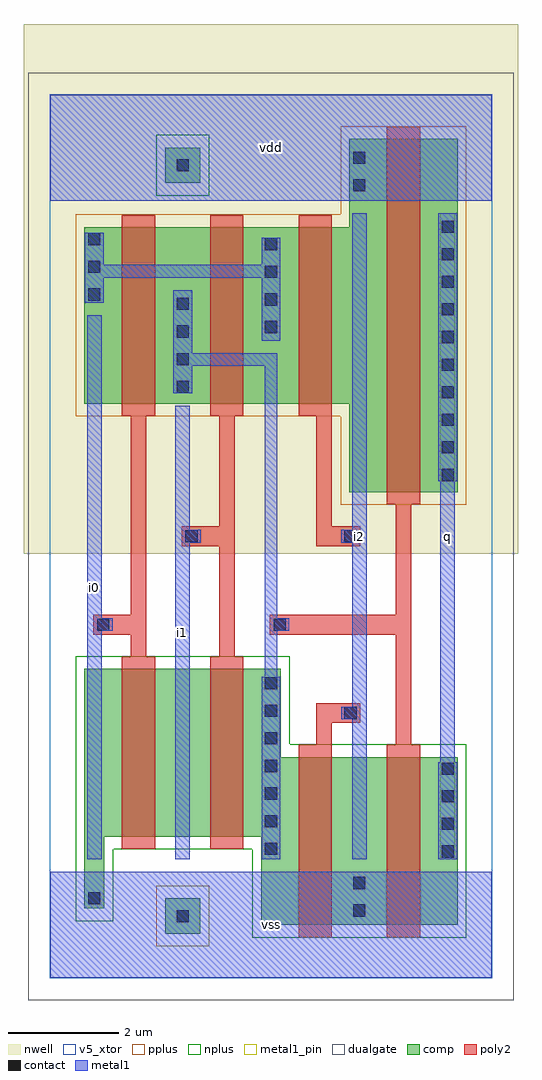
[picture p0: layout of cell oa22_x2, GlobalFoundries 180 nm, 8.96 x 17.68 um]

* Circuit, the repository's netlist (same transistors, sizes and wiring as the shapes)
* oa22_x2
.subckt oa22_x2 vdd q vss i0 i1 i2
Mp_net0_1 vdd _net0 q vdd pfet_06v0 l=0.6um w=6.4um
Mn_net0_1 vss _net0 q vss nfet_06v0 l=0.6um w=3.04um
Mn_i0_1 vss i0 _net2 vss nfet_06v0 l=0.6um w=3.04um
Mp_i0_1 _net1 i0 _net0 vdd pfet_06v0 l=0.6um w=3.2um
Mn_i1_1 _net2 i1 _net0 vss nfet_06v0 l=0.6um w=3.04um
Mp_i1_1 _net0 i1 _net1 vdd pfet_06v0 l=0.6um w=3.2um
Mp_i2_1 _net1 i2 vdd vdd pfet_06v0 l=0.6um w=3.2um
Mn_i2_1 _net0 i2 vss vss nfet_06v0 l=0.6um w=3.04um
.ends oa22_x2

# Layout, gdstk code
import gdstk
lib = gdstk.Library(unit=1e-6, precision=1e-09)
def R(c, l, rs):  # rectangles x0, y0, x1, y1
    for r in rs: c.add(gdstk.rectangle(r[:2], r[2:], *l))
def A(c, l, x, y, w, h, nx, ny, dx, dy):  # array of equal rectangles
    R(c, l, [(x+i*dx, y+j*dy, x+i*dx+w, y+j*dy+h) for i in range(nx) for j in range(ny)])
def P(c, l, *ps):  # polygons
    for p in ps: c.add(gdstk.Polygon(p, *l))
nwell = (21, 0)
comp = (22, 0)
poly2 = (30, 0)
pplus = (31, 0)
nplus = (32, 0)
contact = (33, 0)
metal1 = (34, 0)
metal1_pin = (34, 10)
dualgate = (55, 0)
v5_xtor = (112, 1)

oa22_x2 = lib.new_cell('oa22_x2')
R(oa22_x2, nwell, [(-0.48,7.68,8.48,17.28)])
R(oa22_x2, comp, [(2.08,0.8,2.72,1.44), (2.08,14.4,2.72,15.04)])
P(oa22_x2, comp, [(5.42,8.8),(5.42,10.4),(0.62,10.4),(0.62,13.6),(5.42,13.6),(5.42,15.2),(7.38,15.2),(7.38,8.8)],
  [(3.82,0.96),(3.82,2.56),(0.98,2.56),(0.98,1.26),(0.62,1.26),(0.62,5.6),(4.18,5.6),(4.18,4),(7.38,4),(7.38,0.96)])
P(oa22_x2, poly2, [(6.1,0.74),(6.1,4.22),(6.26,4.22),(6.26,6.22),(3.98,6.22),(3.98,6.58),(6.26,6.58),(6.26,8.58),(6.1,8.58),(6.1,15.42),(6.7,15.42),(6.7,8.58),(6.54,8.58),(6.54,4.22),(6.7,4.22),(6.7,0.74)],
  [(1.3,2.34),(1.3,5.82),(1.46,5.82),(1.46,6.22),(0.78,6.22),(0.78,6.58),(1.46,6.58),(1.46,10.18),(1.3,10.18),(1.3,13.82),(1.9,13.82),(1.9,10.18),(1.74,10.18),(1.74,5.82),(1.9,5.82),(1.9,2.34)],
  [(2.9,2.34),(2.9,5.82),(3.06,5.82),(3.06,7.82),(2.38,7.82),(2.38,8.18),(3.06,8.18),(3.06,10.18),(2.9,10.18),(2.9,13.82),(3.5,13.82),(3.5,10.18),(3.34,10.18),(3.34,5.82),(3.5,5.82),(3.5,2.34)],
  [(4.5,0.74),(4.5,4.22),(4.82,4.22),(4.82,4.98),(5.62,4.98),(5.62,4.62),(5.1,4.62),(5.1,0.74)],
  [(4.82,7.82),(4.82,10.18),(4.5,10.18),(4.5,13.82),(5.1,13.82),(5.1,8.18),(5.62,8.18),(5.62,7.82)])
R(oa22_x2, pplus, [(1.92,0.57,2.88,1.67)])
P(oa22_x2, pplus, [(5.26,8.57),(5.26,10.17),(0.46,10.17),(0.46,13.83),(5.26,13.83),(5.26,15.43),(7.54,15.43),(7.54,8.57)])
R(oa22_x2, nplus, [(1.92,14.17,2.88,15.27)])
P(oa22_x2, nplus, [(3.66,0.73),(3.66,2.33),(1.14,2.33),(1.14,1.03),(0.46,1.03),(0.46,5.83),(4.34,5.83),(4.34,4.23),(7.54,4.23),(7.54,0.73)])
A(oa22_x2, contact, 7.09, 2.18, 0.22, 0.22, 1, 4, 0, 0.5)
A(oa22_x2, contact, 3.89, 2.23, 0.22, 0.22, 1, 7, 0, 0.5)
A(oa22_x2, contact, 7.09, 9, 0.22, 0.22, 1, 10, 0, 0.5)
A(oa22_x2, contact, 2.29, 10.6, 0.22, 0.22, 1, 4, 0, 0.5)
A(oa22_x2, contact, 3.89, 11.68, 0.22, 0.22, 1, 4, 0, 0.5)
A(oa22_x2, contact, 0.69, 12.27, 0.22, 0.22, 1, 3, 0, 0.5)
R(oa22_x2, contact, [(2.29,1.01,2.51,1.23), (5.49,1.11,5.71,1.33), (0.69,1.33,0.91,1.55), (5.49,1.61,5.71,1.83), (5.33,4.69,5.55,4.91), (0.85,6.29,1.07,6.51), (4.05,6.29,4.27,6.51), (2.45,7.89,2.67,8.11), (5.33,7.89,5.55,8.11), (5.49,14.25,5.71,14.47), (2.29,14.61,2.51,14.83), (5.49,14.75,5.71,14.97)])
R(oa22_x2, metal1, [(0,0,8,1.92), (0,14.08,8,16)])
P(oa22_x2, metal1, [(7.03,2.15),(7.03,3.905),(7.07,3.905),(7.07,8.995),(7.03,8.995),(7.03,13.85),(7.37,13.85),(7.37,8.995),(7.33,8.995),(7.33,3.905),(7.37,3.905),(7.37,2.15)],
  [(3.83,2.15),(3.83,5.455),(3.885,5.455),(3.885,11.085),(2.57,11.085),(2.57,10.595),(2.23,10.595),(2.23,12.455),(2.57,12.455),(2.57,11.315),(4.115,11.315),(4.115,6.515),(4.33,6.515),(4.33,6.285),(4.115,6.285),(4.115,5.455),(4.17,5.455),(4.17,2.15)],
  [(0.67,2.15),(0.67,12),(0.93,12),(0.93,6.515),(1.13,6.515),(1.13,6.285),(0.93,6.285),(0.93,2.15)],
  [(3.83,11.545),(3.83,12.685),(0.97,12.685),(0.97,12.23),(0.63,12.23),(0.63,13.495),(0.97,13.495),(0.97,12.915),(3.83,12.915),(3.83,13.405),(4.17,13.405),(4.17,11.545)],
  [(2.27,2.15),(2.27,10.365),(2.53,10.365),(2.53,8.115),(2.73,8.115),(2.73,7.885),(2.53,7.885),(2.53,2.15)],
  [(5.47,2.15),(5.47,4.685),(5.27,4.685),(5.27,4.915),(5.47,4.915),(5.47,7.885),(5.27,7.885),(5.27,8.115),(5.47,8.115),(5.47,13.85),(5.73,13.85),(5.73,2.15)])
R(oa22_x2, metal1_pin, [(0,0,8,1.92), (0.67,2.15,0.93,12), (2.27,2.15,2.53,10.365), (5.47,2.15,5.73,13.85), (7.07,2.15,7.33,13.85), (0,14.08,8,16)])
R(oa22_x2, dualgate, [(-0.4,-0.4,8.4,16.4)])
R(oa22_x2, v5_xtor, [(-0.005,-0.005,8.005,16.005)])
oa22_x2.add(gdstk.Label('vdd', (4,15.04), layer=34, texttype=10))
oa22_x2.add(gdstk.Label('q', (7.2,8), layer=34, texttype=10))
oa22_x2.add(gdstk.Label('vss', (4,0.96), layer=34, texttype=10))
oa22_x2.add(gdstk.Label('i0', (0.8,7.075), layer=34, texttype=10))
oa22_x2.add(gdstk.Label('i1', (2.4,6.258), layer=34, texttype=10))
oa22_x2.add(gdstk.Label('i2', (5.6,8), layer=34, texttype=10))

lib.write_gds('oa22_x2.gds')
